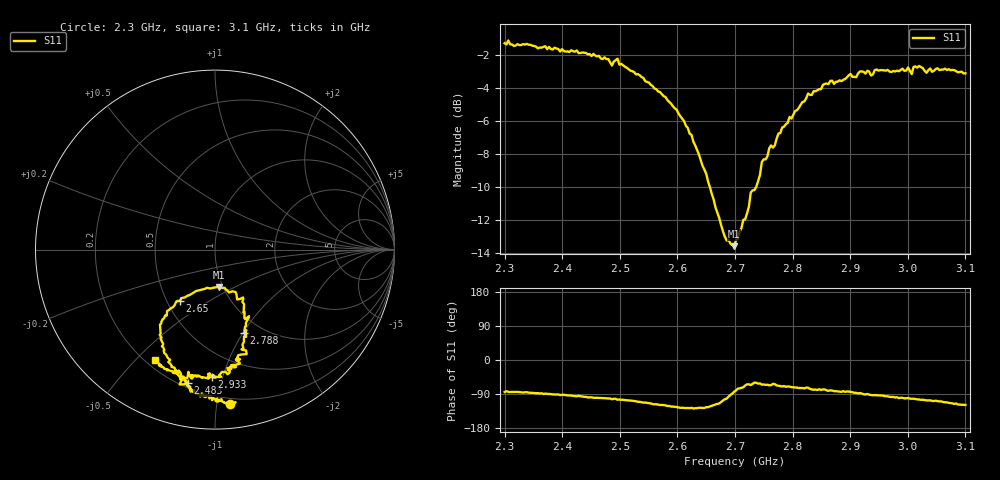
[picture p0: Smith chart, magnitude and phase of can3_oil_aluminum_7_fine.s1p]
# MHz S MA R 50
!  freq  S11
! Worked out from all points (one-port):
!   250 points, 2.3 GHz to 3.1 GHz, reference 50 ohm
!   lowest |S11| = -13.6 dB at 2.698 GHz (marker M1), VSWR 1.53, Z = 47.8 - j20.8 ohm
!   |S11| at or under -10 dB: 2.656 GHz to 2.737 GHz (80.57 MHz wide, 2.99 % of centre)
!   S11 on the Smith chart (normalised r, x): 2.3 GHz: 0.16, -1.09; 2.483 GHz: 0.23, -0.79; 2.65 GHz: 0.58, -0.38; 2.788 GHz: 0.83, -1.01; 2.933 GHz: 0.32, -0.92; 3.1 GHz: 0.24, -0.57
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2300  0.8653 -84.4
2303.213  0.8577 -82.3
2306.426  0.8822 -84.1
2402.811  0.819 -91.6
2444.578  0.8005 -98.8
2483.133  0.7573 -101.5
2502.41  0.749 -105.0
2602.008  0.5283 -125.3
2650.201  0.3457 -124.4
2682.329  0.2231 -103.5
2698.394  0.2087 -84.0
2701.606  0.2169 -80.4
2733.735  0.3091 -59.6
2746.586  0.3765 -64.9
2765.863  0.4164 -62.9
2788.353  0.4905 -70.8
2801.205  0.524 -72.1
2826.908  0.6085 -73.1
2836.546  0.6185 -78.5
2855.823  0.6506 -77.8
2862.249  0.6497 -81.6
2900.803  0.6977 -84.3
2932.932  0.7093 -91.4
2984.337  0.7109 -100.6
3000.402  0.73 -100.1
3006.827  0.697 -102.3
3019.679  0.7379 -104.1
3100  0.701 -118.6
